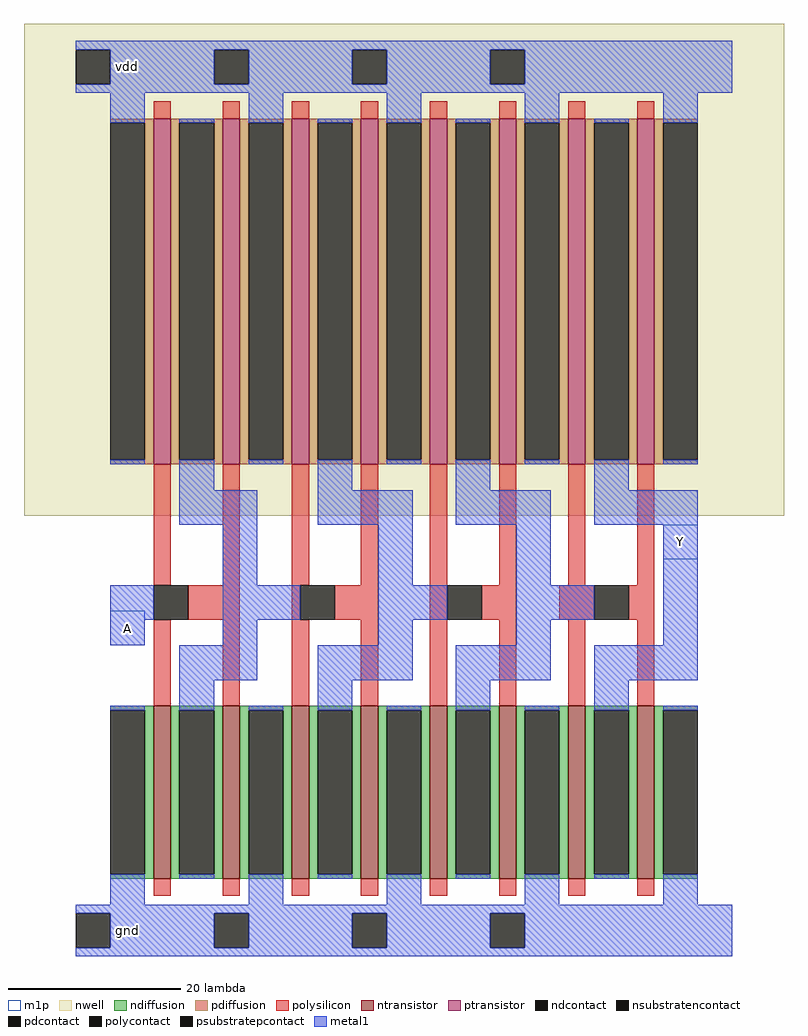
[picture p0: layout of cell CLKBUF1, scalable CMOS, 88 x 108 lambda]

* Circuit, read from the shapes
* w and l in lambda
.subckt CLKBUF1 A Y vdd gnd
M1 n1 A gnd gnd nfet w=20 l=2 m=2
M2 n2 n1 gnd gnd nfet w=20 l=2 m=2
M3 n3 n2 gnd gnd nfet w=20 l=2 m=2
M4 Y n3 gnd gnd nfet w=20 l=2 m=2
M5 n1 A vdd vdd pfet w=40 l=2 m=2
M6 n2 n1 vdd vdd pfet w=40 l=2 m=2
M7 n3 n2 vdd vdd pfet w=40 l=2 m=2
M8 Y n3 vdd vdd pfet w=40 l=2 m=2
.ends

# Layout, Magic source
magic
tech scmos
magscale 1 2
<< nwell >>
rect -16 96 160 210
<< ntransistor >>
rect 14 12 18 52
rect 30 12 34 52
rect 46 12 50 52
rect 62 12 66 52
rect 78 12 82 52
rect 94 12 98 52
rect 110 12 114 52
rect 126 12 130 52
<< ptransistor >>
rect 14 108 18 188
rect 30 108 34 188
rect 46 108 50 188
rect 62 108 66 188
rect 78 108 82 188
rect 94 108 98 188
rect 110 108 114 188
rect 126 108 130 188
<< ndiffusion >>
rect 4 51 14 52
rect 12 13 14 51
rect 4 12 14 13
rect 18 51 30 52
rect 18 13 20 51
rect 28 13 30 51
rect 18 12 30 13
rect 34 51 46 52
rect 34 13 36 51
rect 44 13 46 51
rect 34 12 46 13
rect 50 51 62 52
rect 50 13 52 51
rect 60 13 62 51
rect 50 12 62 13
rect 66 51 78 52
rect 66 13 68 51
rect 76 13 78 51
rect 66 12 78 13
rect 82 51 94 52
rect 82 13 84 51
rect 92 13 94 51
rect 82 12 94 13
rect 98 51 110 52
rect 98 13 100 51
rect 108 13 110 51
rect 98 12 110 13
rect 114 51 126 52
rect 114 13 116 51
rect 124 13 126 51
rect 114 12 126 13
rect 130 51 140 52
rect 130 13 132 51
rect 130 12 140 13
<< pdiffusion >>
rect 4 187 14 188
rect 12 109 14 187
rect 4 108 14 109
rect 18 187 30 188
rect 18 109 20 187
rect 28 109 30 187
rect 18 108 30 109
rect 34 187 46 188
rect 34 109 36 187
rect 44 109 46 187
rect 34 108 46 109
rect 50 187 62 188
rect 50 109 52 187
rect 60 109 62 187
rect 50 108 62 109
rect 66 187 78 188
rect 66 109 68 187
rect 76 109 78 187
rect 66 108 78 109
rect 82 187 94 188
rect 82 109 84 187
rect 92 109 94 187
rect 82 108 94 109
rect 98 187 110 188
rect 98 109 100 187
rect 108 109 110 187
rect 98 108 110 109
rect 114 187 126 188
rect 114 109 116 187
rect 124 109 126 187
rect 114 108 126 109
rect 130 187 140 188
rect 130 109 132 187
rect 130 108 140 109
<< ndcontact >>
rect 4 13 12 51
rect 20 13 28 51
rect 36 13 44 51
rect 52 13 60 51
rect 68 13 76 51
rect 84 13 92 51
rect 100 13 108 51
rect 116 13 124 51
rect 132 13 140 51
<< pdcontact >>
rect 4 109 12 187
rect 20 109 28 187
rect 36 109 44 187
rect 52 109 60 187
rect 68 109 76 187
rect 84 109 92 187
rect 100 109 108 187
rect 116 109 124 187
rect 132 109 140 187
<< psubstratepcontact >>
rect -4 -4 4 4
rect 28 -4 36 4
rect 60 -4 68 4
rect 92 -4 100 4
<< nsubstratencontact >>
rect -4 196 4 204
rect 28 196 36 204
rect 60 196 68 204
rect 92 196 100 204
<< polysilicon >>
rect 14 188 18 192
rect 30 188 34 192
rect 46 188 50 192
rect 62 188 66 192
rect 78 188 82 192
rect 94 188 98 192
rect 110 188 114 192
rect 126 188 130 192
rect 14 80 18 108
rect 30 80 34 108
rect 22 72 34 80
rect 14 52 18 72
rect 30 52 34 72
rect 46 80 50 108
rect 62 80 66 108
rect 46 72 48 80
rect 56 72 66 80
rect 46 52 50 72
rect 62 52 66 72
rect 78 52 82 108
rect 94 80 98 108
rect 110 80 114 108
rect 126 80 130 108
rect 90 72 98 80
rect 108 72 116 80
rect 124 72 130 80
rect 94 52 98 72
rect 110 52 114 72
rect 126 52 130 72
rect 14 8 18 12
rect 30 8 34 12
rect 46 8 50 12
rect 62 8 66 12
rect 78 8 82 12
rect 94 8 98 12
rect 110 8 114 12
rect 126 8 130 12
<< polycontact >>
rect 14 72 22 80
rect 48 72 56 80
rect 82 72 90 80
rect 116 72 124 80
<< metal1 >>
rect -4 204 148 206
rect 4 196 28 204
rect 36 196 60 204
rect 68 196 92 204
rect 100 196 148 204
rect -4 194 148 196
rect 4 187 12 194
rect 4 108 12 109
rect 20 187 28 188
rect 20 102 28 109
rect 36 187 44 194
rect 36 108 44 109
rect 52 187 60 188
rect 52 102 60 109
rect 68 187 76 194
rect 68 108 76 109
rect 84 187 92 188
rect 84 102 92 109
rect 100 187 108 194
rect 100 108 108 109
rect 116 187 124 188
rect 116 102 124 109
rect 132 187 140 194
rect 132 108 140 109
rect 20 94 38 102
rect 52 94 74 102
rect 84 94 106 102
rect 116 94 140 102
rect 30 80 38 94
rect 66 80 74 94
rect 98 80 106 94
rect 4 72 14 80
rect 30 72 48 80
rect 66 72 82 80
rect 98 72 116 80
rect 4 66 12 72
rect 30 66 38 72
rect 66 66 74 72
rect 98 66 106 72
rect 132 66 140 94
rect 20 58 38 66
rect 52 58 74 66
rect 84 58 106 66
rect 116 58 140 66
rect 4 51 12 52
rect 4 6 12 13
rect 20 51 28 58
rect 20 12 28 13
rect 36 51 44 52
rect 36 6 44 13
rect 52 51 60 58
rect 52 12 60 13
rect 68 51 76 52
rect 68 6 76 13
rect 84 51 92 58
rect 84 12 92 13
rect 100 51 108 52
rect 100 6 108 13
rect 116 51 124 58
rect 116 12 124 13
rect 132 51 140 52
rect 132 6 140 13
rect -4 4 148 6
rect 4 -4 28 4
rect 36 -4 60 4
rect 68 -4 92 4
rect 100 -4 148 4
rect -4 -6 148 -4
<< m1p >>
rect 132 86 140 94
rect 4 66 12 74
<< labels >>
rlabel metal1 8 70 8 70 4 A
port 1 se
rlabel metal1 8 200 8 200 4 vdd
port 3 se
rlabel metal1 8 0 8 0 4 gnd
port 4 se
rlabel metal1 136 90 136 90 4 Y
port 2 se
<< end >>
